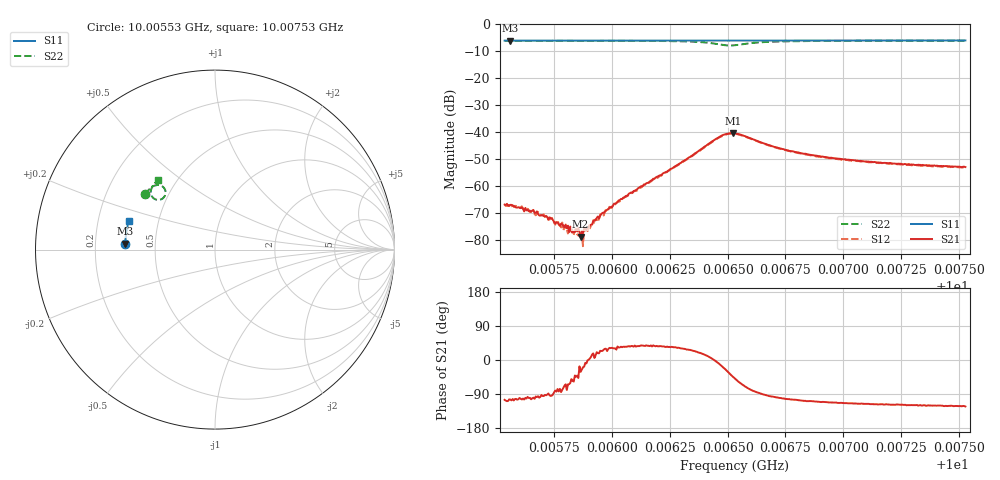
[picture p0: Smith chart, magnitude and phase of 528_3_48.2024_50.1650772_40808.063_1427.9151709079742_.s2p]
#  HZ  S  RI  R  50.00
! Rohde & Schwarz Vector Network Analyzer
! Rohde-Schwarz,ZNB20-2Port,1311601062101988,3.16
! Created: UTC 3/20/2024, 11:59:46 AM
! freq[Hz]  re:S11  im:S11  re:S21  im:S21  re:S12  im:S12  re:S22  im:S22
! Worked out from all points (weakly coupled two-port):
!   401 points, 10.00553 GHz to 10.00753 GHz, reference 50 ohm
!   highest |S21| = -40.27 dB at 10.00652 GHz (marker M1); lowest = -78.6 dB at 10.00586 GHz (marker M2)
!   lowest |S11| = -6.0 dB at 10.00556 GHz (marker M3), VSWR 3.01, Z = 16.6 + j1.47 ohm
!   |S11| at or under -10 dB: nowhere
!   |S22| runs from -7.8 to -6.0 dB; largest |S21 - S12| = 0.00064
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1.0005535e10  -0.5003 0.0314  -0.00012 -0.000446  -9.83e-05 -0.000443  -0.3893 0.3084
1.000556e10  -0.5002 0.033  -0.000114 -0.000441  -0.000109 -0.000456  -0.3882 0.3099
1.0005615e10  -0.5001 0.0367  -7.8e-05 -0.000375  -5.96e-05 -0.000384  -0.3857 0.313
1.0005664e10  -0.5001 0.0399  -6.9e-05 -0.000316  -1.27e-05 -0.000309  -0.3833 0.3163
1.0005709e10  -0.4997 0.0429  -1.03e-05 -0.000275  -4.99e-06 -0.000273  -0.3812 0.3189
1.0005774e10  -0.4995 0.0471  4.46e-05 -0.000181  3.52e-05 -0.000192  -0.378 0.3228
1.0005799e10  -0.4994 0.0486  8.58e-05 -0.000177  4.55e-05 -0.000149  -0.3768 0.3243
1.0005824e10  -0.4992 0.0501  9.21e-05 -0.000111  0.000102 -0.000144  -0.3754 0.3259
1.0005864e10  -0.4992 0.0528  0.000101 -6.14e-05  0.000114 -5.07e-05  -0.3733 0.3285
1.0005869e10  -0.4991 0.0531  0.00013 -6.2e-05  0.000146 -3.85e-05  -0.373 0.3288
1.0005884e10  -0.4989 0.0541  0.000166 -2.28e-05  0.000144 -2.33e-05  -0.3722 0.3296
1.0005889e10  -0.499 0.0544  0.000154 -2.44e-05  0.000159 -4.01e-05  -0.3718 0.3301
1.0005914e10  -0.4989 0.0562  0.000191 5.03e-05  0.000187 3.2e-05  -0.3704 0.3316
1.0005983e10  -0.4984 0.0605  0.000332 0.000186  0.000316 0.000196  -0.366 0.3362
1.0006203e10  -0.4968 0.0748  0.00128 0.000931  0.00119 0.000945  -0.3465 0.3521
1.0006462e10  -0.4939 0.0913  0.00809 -0.00133  0.00793 -0.000864  -0.2763 0.3278
1.0006522e10  -0.4933 0.0946  0.007 -0.00669  0.0072 -0.00617  -0.2953 0.2824
1.0006532e10  -0.4931 0.0951  0.00629 -0.00728  0.00652 -0.0068  -0.3035 0.2787
1.0006701e10  -0.4921 0.106  -0.000699 -0.00536  -0.00045 -0.00531  -0.3582 0.3201
1.0006866e10  -0.4901 0.1165  -0.00122 -0.00359  -0.00108 -0.00357  -0.3516 0.346
1.0007199e10  -0.4853 0.1377  -0.00125 -0.00241  -0.00106 -0.00241  -0.3333 0.3719
1.0007528e10  -0.4799 0.1582  -0.00123 -0.00192  -0.00112 -0.00195  -0.3159 0.3897
